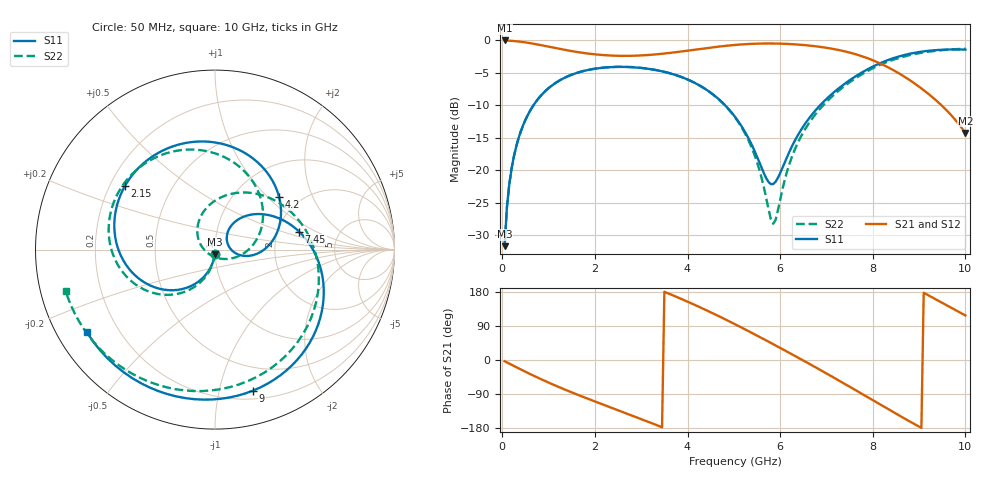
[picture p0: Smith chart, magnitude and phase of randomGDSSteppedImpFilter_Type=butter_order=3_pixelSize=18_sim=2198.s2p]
! freq	dB(S11)	phase(S11)	dB(S12)	phase(S12)
!  dB(S21)	phase(S21)	dB(S22)	phase(S22)
!S-par simulation data
#  GHz  S  DB  R 50
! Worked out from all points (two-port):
!   200 points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, 50 MHz to 10 GHz, reference 50 ohm
!   highest |S21| = -0.01 dB at 50 MHz (marker M1); lowest = -14.3 dB at 10 GHz (marker M2)
!   |S21| within 3 dB of the highest: start of sweep to 7.982 GHz
!   lowest |S11| = -31.7 dB at 50 MHz (marker M3), VSWR 1.05, Z = 49.8 - j2.58 ohm
!   |S11| at or under -10 dB: start of sweep to 674.5 MHz; 4.811 GHz to 6.864 GHz (2.053 GHz wide, 35.2 % of centre)
!   |S22| runs from -31.7 to -1.3 dB; largest |S21 - S12| = 0
!   S11 on the Smith chart (normalised r, x): 50 MHz: 1.00, -0.05; 2.15 GHz: 0.26, +0.30; 4.2 GHz: 1.58, +1.17; 7.45 GHz: 2.63, +0.69; 9 GHz: 0.27, -1.27; 10 GHz: 0.09, -0.29
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0.05  -31.73 -93.5  -0.01 -3.2  -0.01 -3.2  -31.73 -93.1
0.1  -25.74 -97.0  -0.02 -6.4  -0.02 -6.4  -25.73 -96.2
0.2  -19.80 -103.8  -0.07 -12.6  -0.07 -12.6  -19.79 -102.3
0.5  -12.25 -123.5  -0.31 -31.0  -0.31 -31.0  -12.25 -119.7
1.05  -7.08 -156.9  -1.04 -62.3  -1.04 -62.3  -7.06 -148.9
1.75  -4.73 165.1  -1.93 -97.6  -1.93 -97.6  -4.72 178.6
2.15  -4.23 144.8  -2.24 -116.3  -2.24 -116.3  -4.21 161.5
2.8  -4.13 112.4  -2.37 -146.3  -2.37 -146.3  -4.11 134.2
3.4  -4.69 81.9  -2.10 -175.0  -2.10 -175.0  -4.68 107.9
4.2  -6.71 39.3  -1.39 143.0  -1.39 143.0  -6.71 68.2
5.05  -12.02 -3.5  -0.68 92.9  -0.68 92.9  -12.11 15.9
5.45  -17.09 -12.3  -0.51 67.7  -0.51 67.7  -17.73 -17.9
5.85  -22.15 26.1  -0.47 41.8  -0.47 41.8  -28.27 -116.9
6.25  -16.41 55.9  -0.58 15.4  -0.58 15.4  -18.03 140.7
6.7  -11.32 45.3  -0.85 -14.9  -0.85 -14.9  -11.97 96.6
7.1  -8.37 28.6  -1.26 -42.3  -1.26 -42.3  -8.78 60.9
7.45  -6.40 12.2  -1.78 -66.9  -1.78 -66.9  -6.71 29.8
7.9  -4.41 -10.9  -2.78 -99.0  -2.78 -99.0  -4.67 -9.9
8.35  -2.97 -35.9  -4.22 -131.1  -4.22 -131.1  -3.22 -48.2
9  -1.79 -74.9  -7.13 -175.8  -7.13 -175.8  -1.97 -98.6
9.5  -1.44 -108.1  -10.12 150.9  -10.12 150.9  -1.50 -133.2
10  -1.42 -147.3  -14.28 117.6  -14.28 117.6  -1.28 -164.7
